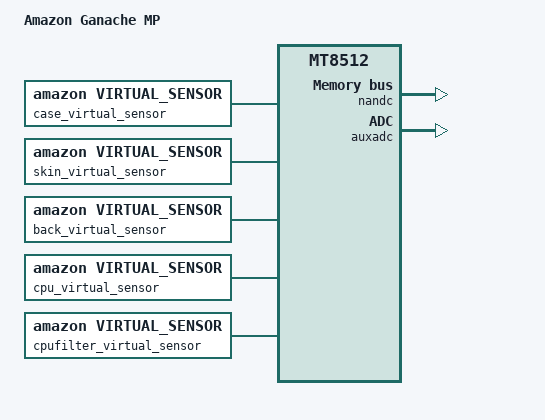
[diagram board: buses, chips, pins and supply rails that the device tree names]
/*
 * Copyright (c) 2021 Amazon.com
 *
 * SPDX-License-Identifier: (GPL-2.0)
 */


/dts-v1/;
#include "brownie-mt8512.dtsi"

/ {
	model = "Amazon Ganache MP";
	compatible = "amzn,ganache-mt8512-nand-mp", "mediatek,mt8512";
	chosen {
		bootargs = "";
	};

	reset_adc: fixedregulator@7 {
		pinctrl-names = "default";
		pinctrl-0 = <&adc_reset_default>;
	};

	sound: sound {
		mediatek,etdm1-in-master-clock=<1>;
	};

	/* display */
	case_virtual_sensor: case-virtual-sensor {
		compatible = "amazon,virtual_sensor";
		#thermal-sensor-cells = <0>;

		zone-list {
			zone-names = "therm0_s", "therm1_s", "therm2_s", "wifi_temp", "mtktscpu";
			therm0_s = <1 71700 32 (-432) (-40000) 125000>;
			therm1_s = <1 65900 841 (-189) (-40000) 125000>;
			therm2_s = <1 15700 942 1450 (-40000) 125000>;
			wifi_temp = <0 0 0 0 0 0>;
			mtktscpu = <1 57100 882 117 0 0>;
		};
	};

	/* top */
	skin_virtual_sensor: skin-virtual-sensor {
		compatible = "amazon,virtual_sensor";
		#thermal-sensor-cells = <0>;

		zone-list {
			zone-names = "therm0_s", "therm1_s", "therm2_s", "wifi_temp", "mtktscpu";
			therm0_s = <1 60100 100 (-54) (-40000) 125000>;
			therm1_s = <1 9230 900 699 (-40000) 125000>;
			therm2_s = <1 25700 900 465 (-40000) 125000>;
			wifi_temp = <0 0 0 0 0 0>;
			mtktscpu = <1 71500 120 (-111) 0 0>;
		};
	};

	back_virtual_sensor: back-virtual-sensor {
		compatible = "amazon,virtual_sensor";
		#thermal-sensor-cells = <0>;

		zone-list {
			zone-names = "therm0_s", "therm1_s", "therm2_s", "wifi_temp", "mtktscpu";
			therm0_s = <1 22200 900 824 (-40000) 125000>;
			therm1_s = <1 79700 153 (-411) (-40000) 125000>;
			therm2_s = <1 29600 900 591 (-40000) 125000>;
			wifi_temp = <0 0 0 0 0 0>;
			mtktscpu = <1 65400 680 (-39) 0 0>;
		};
	};

	cpu_virtual_sensor: cpu-virtual-sensor {
		compatible = "amazon,virtual_sensor";
		#thermal-sensor-cells = <0>;

		zone-list {
			zone-names = "therm0_s", "therm1_s", "therm2_s", "wifi_temp", "mtktscpu";
			therm0_s = <0 0 0 0 (-40000) 125000>;
			therm1_s = <0 0 0 0 (-40000) 125000>;
			therm2_s = <0 0 0 0 (-40000) 125000>;
			wifi_temp = <0 0 0 0 0 0>;
			mtktscpu = <0 0 1000 1000 0 0>;
		};
	};

	cpufilter_virtual_sensor: cpufilter-virtual-sensor {
		compatible = "amazon,virtual_sensor";
		#thermal-sensor-cells = <0>;
		moving-average-prop = <1000 5 100 0>;

		zone-list {
			zone-names = "therm0_s", "therm1_s", "therm2_s", "wifi_temp", "mtktscpu";
			therm0_s = <0 0 0 0 (-40000) 125000>;
			therm1_s = <0 0 0 0 (-40000) 125000>;
			therm2_s = <0 0 0 0 (-40000) 125000>;
			wifi_temp = <0 0 0 0 0 0>;
			mtktscpu = <0 0 1000 1000 0 0>;
		};
	};

};

&nandc {
	status = "okay";
};

&auxadc {
        expected-divider-voltage-raw = <900>;
        ref-voltage-adc-channel = <3>;
        has-error-correction;
        status = "okay";
};

/* LED driver is enabled at runtime in u-boot based on board-id */
&lp5036_i2c0_31 {
	status = "disabled";
};

/* Audio AMP is enabled at runtime in u-boot based on board-id */
&tas5805m_1_dac {
	status = "disabled";
};

/* Audio ADC is enabled at runtime in u-boot based on board-id */
&tlv320adc5140_1 {
	status = "disabled";
};

&afe {
	mediatek,etdm1-in-force-master-clock = <1>;
};

&i2c0 {

	/* LED driver is enabled at runtime in u-boot based on board-id */
	alr_is31fl3246_i2c0_31: is31fl3246@31 {
		#address-cells = <1>;
		#size-cells = <0>;
		compatible = "issi,is31fl3246";
		reg = <0x31>;
		vled-supply = <&led_power>;
		status = "disabled";
		led@0 {
			reg = <0>;
			label = "ledmod_0";
			issi,led-module = <3>;
			rgb-map = /bits/ 8 <1 0 2>;
			linux,default-trigger = "boot-anim";
		};
		led@1 {
			reg = <1>;
			label = "ledmod_1";
			issi,led-module = <4>;
			rgb-map = /bits/ 8 <1 0 2>;
			linux,default-trigger = "boot-anim";
		};
		led@2 {
			reg = <2>;
			label = "ledmod_2";
			issi,led-module = <5>;
			rgb-map = /bits/ 8 <1 0 2>;
			linux,default-trigger = "boot-anim";
		};
		led@3 {
			reg = <3>;
			label = "ledmod_3";
			issi,led-module = <6>;
			rgb-map = /bits/ 8 <1 0 2>;
			linux,default-trigger = "boot-anim";
		};
		led@4 {
			reg = <4>;
			label = "ledmod_4";
			issi,led-module = <7>;
			rgb-map = /bits/ 8 <1 0 2>;
			linux,default-trigger = "boot-anim";
		};
		led@5 {
			reg = <5>;
			label = "ledmod_5";
			issi,led-module = <8>;
			rgb-map = /bits/ 8 <1 0 2>;
			linux,default-trigger = "boot-anim";
		};
		led@6 {
			reg = <6>;
			label = "ledmod_6";
			issi,led-module = <9>;
			rgb-map = /bits/ 8 <1 0 2>;
			linux,default-trigger = "boot-anim";
		};
		led@7 {
			reg = <7>;
			label = "ledmod_7";
			issi,led-module = <10>;
			rgb-map = /bits/ 8 <1 0 2>;
			linux,default-trigger = "boot-anim";
		};
		led@8 {
			reg = <8>;
			label = "ledmod_8";
			issi,led-module = <11>;
			rgb-map = /bits/ 8 <1 0 2>;
			linux,default-trigger = "boot-anim";
		};
		led@9 {
			reg = <9>;
			label = "ledmod_9";
			issi,led-module = <0>;
			rgb-map = /bits/ 8 <1 0 2>;
			linux,default-trigger = "boot-anim";
		};
		led@10 {
			reg = <10>;
			label = "ledmod_10";
			issi,led-module = <1>;
			rgb-map = /bits/ 8 <1 0 2>;
			linux,default-trigger = "boot-anim";
		};
		led@11 {
			reg = <11>;
			label = "ledmod_11";
			issi,led-module = <2>;
			rgb-map = /bits/ 8 <1 0 2>;
			linux,default-trigger = "boot-anim";
		};
	};

	/* LED driver is enabled at runtime in u-boot based on board-id */
	alr_aw21036_i2c0_36: aw21036@36 {
		#address-cells = <1>;
		#size-cells = <0>;
		compatible = "aw,aw21036";
		reg = <0x36>;
		vled-supply = <&led_power>;
		status = "disabled";
		led@0 {
			reg = <0>;
			label = "ledmod_0";
			aw,led-module = <3>;
			rgb-map = /bits/ 8 <1 0 2>;
			linux,default-trigger = "boot-anim";
		};
		led@1 {
			reg = <1>;
			label = "ledmod_1";
			aw,led-module = <4>;
			rgb-map = /bits/ 8 <1 0 2>;
			linux,default-trigger = "boot-anim";
		};
		led@2 {
			reg = <2>;
			label = "ledmod_2";
			aw,led-module = <5>;
			rgb-map = /bits/ 8 <1 0 2>;
			linux,default-trigger = "boot-anim";
		};
		led@3 {
			reg = <3>;
			label = "ledmod_3";
			aw,led-module = <6>;
			rgb-map = /bits/ 8 <1 0 2>;
			linux,default-trigger = "boot-anim";
		};
		led@4 {
			reg = <4>;
			label = "ledmod_4";
			aw,led-module = <7>;
			rgb-map = /bits/ 8 <1 0 2>;
			linux,default-trigger = "boot-anim";
		};
		led@5 {
			reg = <5>;
			label = "ledmod_5";
			aw,led-module = <8>;
			rgb-map = /bits/ 8 <1 0 2>;
			linux,default-trigger = "boot-anim";
		};
		led@6 {
			reg = <6>;
			label = "ledmod_6";
			aw,led-module = <9>;
			rgb-map = /bits/ 8 <1 0 2>;
			linux,default-trigger = "boot-anim";
		};
		led@7 {
			reg = <7>;
			label = "ledmod_7";
			aw,led-module = <10>;
			rgb-map = /bits/ 8 <1 0 2>;
			linux,default-trigger = "boot-anim";
		};
		led@8 {
			reg = <8>;
			label = "ledmod_8";
			aw,led-module = <11>;
			rgb-map = /bits/ 8 <1 0 2>;
			linux,default-trigger = "boot-anim";
		};
		led@9 {
			reg = <9>;
			label = "ledmod_9";
			aw,led-module = <0>;
			rgb-map = /bits/ 8 <1 0 2>;
			linux,default-trigger = "boot-anim";
		};
		led@10 {
			reg = <10>;
			label = "ledmod_10";
			aw,led-module = <1>;
			rgb-map = /bits/ 8 <1 0 2>;
			linux,default-trigger = "boot-anim";
		};
		led@11 {
			reg = <11>;
			label = "ledmod_11";
			aw,led-module = <2>;
			rgb-map = /bits/ 8 <1 0 2>;
			linux,default-trigger = "boot-anim";
		};
	};

	/* LED driver is enabled at runtime in u-boot based on board-id */
	disp_is31fl3246_i2c0_30: is31fl3246@30 {
		compatible = "issi,is31fl3246";
		reg = <0x30>;
		enable-gpio = <&pio 2 GPIO_ACTIVE_HIGH>;
		status = "disabled";
		frame@0 {
			label = "frame_0";
			frame-channel-map = /bits/ 8 <3 9 2 5 11 10 8 6 7 1
			14 16 15 12 4 13 18 17 34 31
			23 20 19 21 22 33 29 27 25 24
			30 28 32 26 0 35>;
		};
	};

	/* LED driver is enabled at runtime in u-boot based on board-id */
	disp_aw21036_i2c0_34: aw21036@34 {
		compatible = "aw,aw21036";
		reg = <0x34>;
		enable-gpio = <&pio 2 GPIO_ACTIVE_HIGH>;
		status = "disabled";
		frame@0 {
			label = "frame_0";
			frame-channel-map = /bits/ 8 <3 9 2 5 11 10 8 6 7 1
			14 16 15 12 4 13 18 17 34 31
			23 20 19 21 22 33 29 27 25 24
			30 28 32 26 0 35>;
		};
	};

	/* Audio AMP is enabled at runtime in u-boot based on board-id */
	max98396_1_dac: max98396@3d {
		compatible = "maxim,max98396";
		reg = <0x3d>;
		maxim,reset-gpio = <&pio 19 GPIO_ACTIVE_HIGH>;
		dac-num = <0>;
		NOVBAT = <0>;
		phandle = <0x4D>; // Force phandle to be created for u-boot to link sound card.
		status = "disabled";
	};
};

&i2c_dsp {
	/* Audio ADC is enabled at runtime in u-boot based on board-id */
	ak5704_1_adc: ak5704@10 {
		compatible = "akm,ak5704";
		reg = <0x10>;
		reset-adc-regulator-supply = <&reset_adc>;
		adc-num = <0>;
		disable-suspend;
		phandle = <0x41>; // Force phandle to be created for u-boot to link sound card.
		status = "disabled";
	};
	es7210_1_adc: es7210@40 {
		compatible = "es,es7210";
		reg = <0x40>;
		reset-adc-regulator-supply = <&reset_adc>;
		adc-num = <0>;
		disable-suspend;
		phandle = <0x42>; // Force phandle to be created for u-boot to link sound card.
		status = "disabled";
	};
};

&pio {
	mmc1_pins_default: mmc1default {
		pins_wifi_reset {
			pinmux = <MT8512_PIN_44_PWM0__FUNC_GPIO44>;
			input-enable;
			bias-disable;
		};
	};

	adc_reset_default: adcreset {
		pins_cmd_dat {
			pinmux = <MT8512_PIN_17_GPIO17__FUNC_GPIO17>;
			output-high;
			bias-pull-up;
		};
	};

	aud_pins_default: audiodefault {
		pins_mclk {
			pinmux = <MT8512_PIN_92_I2SIN_MCLK__FUNC_GPIO92>;
			output-low;
		};
	};
};

&pwm {
	invert = <1>;
};

&volumeup_button {
	swdebounce-interval = <100>;
	dyndebounce-interval = <0>;
	dyndebounce-duration = <10000>;		/* 10 sec */
};

&volumedown_button {
	swdebounce-interval = <100>;
	dyndebounce-interval = <0>;
	dyndebounce-duration = <10000>;		/* 10 sec */
};

&action_button {
	swdebounce-interval = <100>;
	dyndebounce-interval = <0>;
	dyndebounce-duration = <10000>;		/* 10 sec */
};
